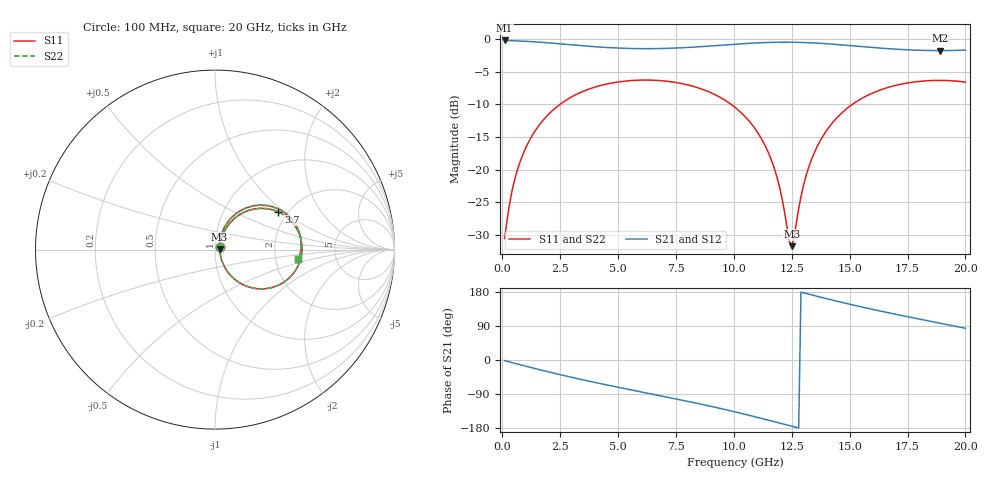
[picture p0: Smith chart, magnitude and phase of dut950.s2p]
! Touchstone file exported from HFSS 2026.1.0
!  File:  C:/ffzhzh/LocalFiles/Ansys_Project_Files/temp_train_TSV_RDL_950_1783283007_5512.aedt
!  Generated:  04:33:13 AM Jul  6, 2026
!  Design:  TSV_RDL
!  Project:  temp_train_TSV_RDL_950_1783283007_5512
! Variables:
!  h_bsmrdl = 4.04um
!  h_ox = 20um
!  h_rdl = 5um
!  h_sub = 87.37um
!  h_tmrdl = 3.82um
!  h_tsv = 87.37um
!  h_via = 3um
!  l_bsmrdl = 697.13um
!  l_sub = 4427.12um
!  l_tmrdl = 462.31um
!  m_sub = 200um
!  pitch = 37.95um
!  r_tsv = 11.02um
!  s_tmrdl = 10um
!  w_bsmrdl = 14.48um
!  w_sub = 500um
!  w_tmrdl = 14.35um
!  x_tsv_center1 = 469.485um
!  x_tsv_center2 = 1181.095um
!  x_tsv_center3 = 1657.755um
!  x_tsv_center4 = 2369.365um
!  x_tsv_center5 = 2846.025um
!  x_tsv_center6 = 3557.635um
# GHz S MA R 50.000000
! Terminal data exported
! Port[1] = TM_RDL1_1_T1
! Port[2] = TM_RDL5_1_T1
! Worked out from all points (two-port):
!   200 points, 100 MHz to 20 GHz, reference 50 ohm
!   highest |S21| = -0.22 dB at 100 MHz (marker M1); lowest = -1.8 dB at 18.9 GHz (marker M2)
!   |S21| within 3 dB of the highest: start of sweep to end of sweep
!   lowest |S11| = -31.7 dB at 12.5 GHz (marker M3), VSWR 1.05, Z = 52.6 + j0.403 ohm
!   |S11| at or under -10 dB: start of sweep to 2.496 GHz; 9.878 GHz to 15.12 GHz (5.247 GHz wide, 42 % of centre)
!   |S22| runs from -31.6 to -6.3 dB; largest |S21 - S12| = 1.7e-14
!   S11 on the Smith chart (normalised r, x): 100 MHz: 1.05, +0.03; 3.7 GHz: 1.80, +0.91; 20 GHz: 2.69, -0.38
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0.1  0.02966 29.9  0.9746 -1.7  0.9746 -1.7  0.02966 29.9
! Gamma 0 0 0 0
! Port Impedance 50 0 50 0
0.5  0.0791 61.0  0.9692 -8.2  0.9692 -8.2  0.0791 61.0
1.2  0.1705 60.6  0.9557 -19.3  0.9557 -19.3  0.1705 60.6
2.2  0.2867 49.5  0.9275 -34.4  0.9275 -34.4  0.2867 49.5
3.5  0.398 33.1  0.8865 -52.6  0.8865 -52.6  0.398 33.1
3.7  0.4109 30.6  0.8807 -55.3  0.8807 -55.3  0.4109 30.7
5.3  0.4759 11.4  0.8485 -75.6  0.8485 -75.6  0.4758 11.5
6.8  0.4802 -6.0  0.8451 -93.9  0.8451 -93.9  0.4802 -5.9
8.6  0.4143 -27.4  0.8741 -116.7  0.8741 -116.7  0.4143 -27.4
10.1  0.2948 -46.2  0.9131 -137.6  0.9131 -137.6  0.2948 -46.1
11  0.1956 -56.7  0.9334 -151.1  0.9334 -151.1  0.1956 -56.5
11.6  0.121 -61.0  0.9421 -160.4  0.9421 -160.4  0.1211 -60.8
12  0.0701 -57.8  0.9449 -166.8  0.9449 -166.8  0.07023 -57.4
12.4  0.02805 -18.8  0.945 -173.1  0.945 -173.1  0.02847 -18.3
12.5  0.02589 8.5  0.9446 -174.7  0.9446 -174.7  0.02639 8.6
13  0.07455 65.1  0.9401 177.4  0.9401 177.4  0.07478 64.7
13.4  0.1251 67.3  0.9336 171.2  0.9336 171.2  0.1253 67.2
14  0.1984 62.9  0.92 162.0  0.92 162.0  0.1985 62.8
14.7  0.2753 55.0  0.9001 151.6  0.9001 151.6  0.2754 54.9
16.7  0.4278 30.8  0.8423 124.3  0.8423 124.3  0.4279 30.8
18.9  0.4819 5.6  0.8152 97.1  0.8152 97.1  0.482 5.6
20  0.4676 -6.8  0.8221 83.7  0.8221 83.7  0.4677 -6.7
